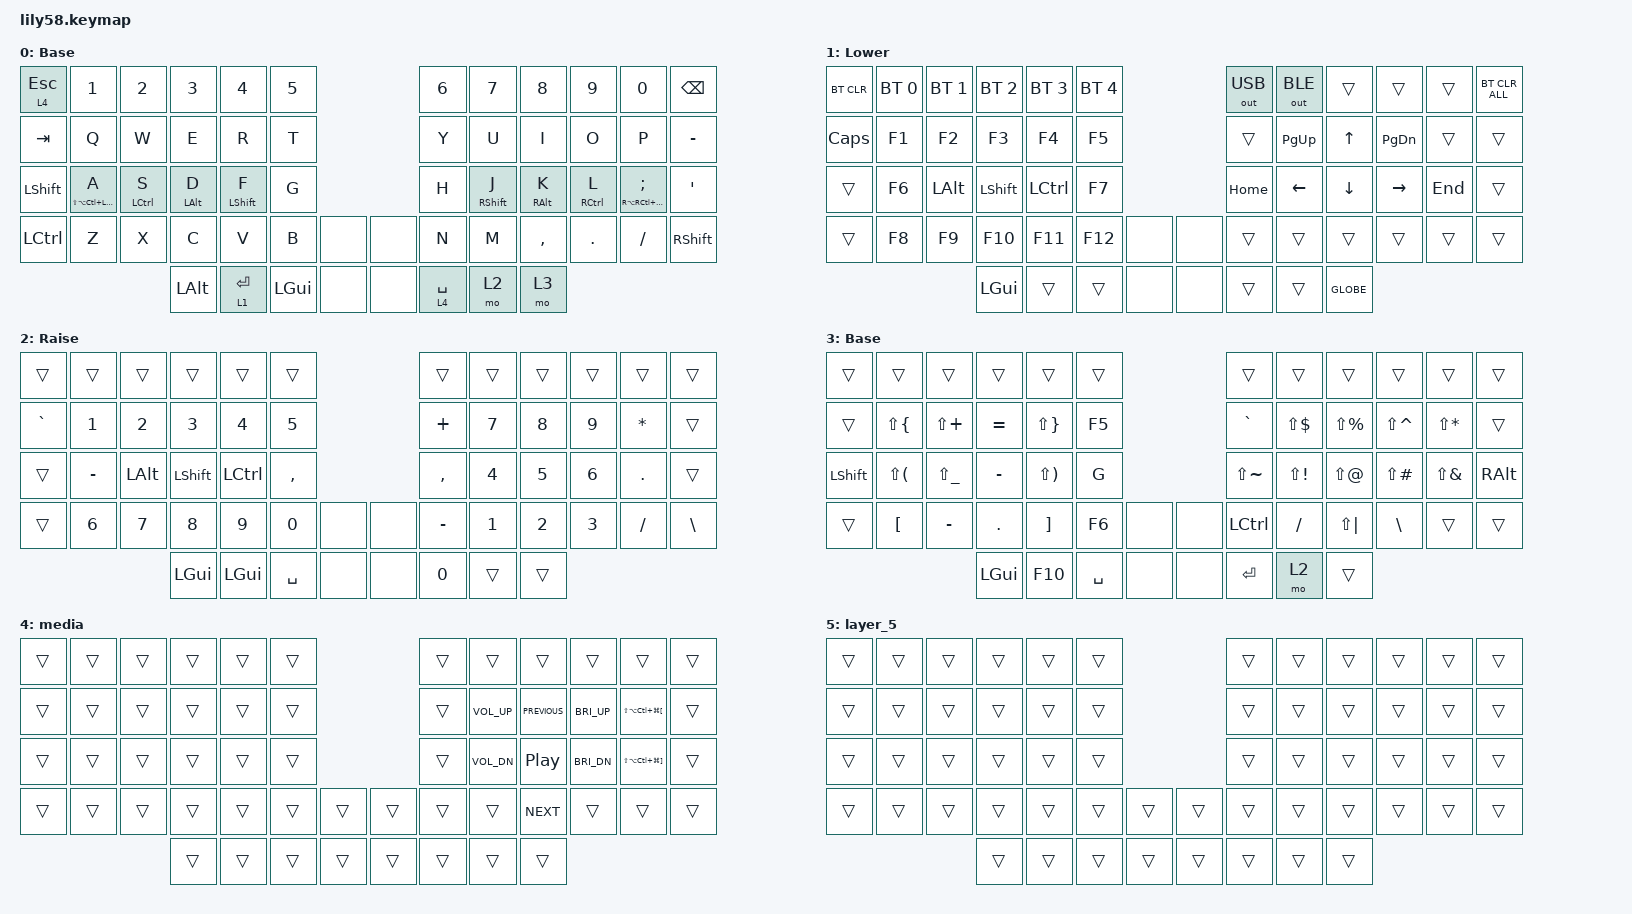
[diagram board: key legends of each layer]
/*
 * Copyright (c) 2020 The ZMK Contributors
 *
 * SPDX-License-Identifier: MIT
 */

#include <behaviors.dtsi>
#include <dt-bindings/zmk/bt.h>
#include <dt-bindings/zmk/keys.h>
#include <dt-bindings/zmk/outputs.h>

/ {
    behaviors {
        longPress: longPress {
            compatible = "zmk,behavior-hold-tap";
            label = "LONGPRESS";
            bindings = <&kp>, <&kp>;

            #binding-cells = <2>;
            tapping-term-ms = <350>;
            flavor = "tap-preferred";
        };

        HMShiftR: HMShiftR {
            compatible = "zmk,behavior-hold-tap";
            label = "HMSHIFTR";
            bindings = <&kp>, <&kp>;

            #binding-cells = <2>;
            tapping-term-ms = <200>;
            hold-trigger-key-positions = <0 1 2 3 4 15 0 1 2 3 4 5 12 13 14 15 16 17 24 25 26 27 28 29 36 37 38 39 40 41 50 51 52 53 42>;
            hold-trigger-on-release;
            hold-while-undecided;
            flavor = "balanced";
            quick-tap-ms = <150>;
            require-prior-idle-ms = <125>;
        };

        HMShiftL: HMShiftL {
            compatible = "zmk,behavior-hold-tap";
            label = "HMSHIFTL";
            bindings = <&kp>, <&kp>;

            #binding-cells = <2>;
            tapping-term-ms = <200>;
            hold-trigger-on-release;
            hold-while-undecided;
            hold-trigger-key-positions = <6 7 8 9 10 11 18 19 20 21 22 23 30 31 32 33 34 35 44 45 46 47 48 49 54 55 56 57 43>;
            quick-tap-ms = <150>;
            require-prior-idle-ms = <125>;
            flavor = "balanced";
        };

        HMSuperL: HMSuperL {
            compatible = "zmk,behavior-hold-tap";
            label = "HMSUPERL";
            bindings = <&kp>, <&kp>;

            #binding-cells = <2>;
            tapping-term-ms = <200>;
            hold-while-undecided;
            hold-trigger-key-positions = <6 7 8 9 10 11 18 19 20 21 22 23 30 31 32 33 34 35 43 44 45 46 47 48 49 54 55 56 57>;
            quick-tap-ms = <150>;
            require-prior-idle-ms = <125>;
            flavor = "balanced";
            hold-trigger-on-release;
        };

        HMSuperR: HMSuperR {
            compatible = "zmk,behavior-hold-tap";
            label = "HMSUPERR";
            bindings = <&kp>, <&kp>;

            #binding-cells = <2>;
            tapping-term-ms = <200>;
            hold-trigger-key-positions = <0 1 2 3 4 15 0 1 2 3 4 5 12 13 14 15 16 17 24 25 26 27 28 29 36 37 38 39 40 41 50 51 52 53 42>;
            hold-while-undecided;
            quick-tap-ms = <175>;
            require-prior-idle-ms = <150>;
            flavor = "balanced";
            hold-trigger-on-release;
        };

        HMAltR: HMAltR {
            compatible = "zmk,behavior-hold-tap";
            label = "HMALTR";
            bindings = <&kp>, <&kp>;

            #binding-cells = <2>;
            tapping-term-ms = <200>;
            hold-trigger-key-positions = <0 1 2 3 4 15 0 1 2 3 4 5 12 13 14 15 16 17 24 25 26 27 28 29 36 37 38 39 40 41 50 51 52 53 42>;
            hold-trigger-on-release;
            hold-while-undecided;
            quick-tap-ms = <150>;
            require-prior-idle-ms = <125>;
            flavor = "balanced";
        };

        HMAltL: HMAltL {
            compatible = "zmk,behavior-hold-tap";
            label = "HMALTL";
            bindings = <&kp>, <&kp>;

            #binding-cells = <2>;
            tapping-term-ms = <200>;
            hold-trigger-on-release;
            hold-while-undecided;
            hold-trigger-key-positions = <6 7 8 9 10 11 18 19 20 21 22 23 30 31 32 33 34 35 44 45 46 47 48 49 55 56 57 30 43 44 54>;
            quick-tap-ms = <150>;
            require-prior-idle-ms = <125>;
            flavor = "balanced";
        };

        HMCtrlR: HMCtrlR {
            compatible = "zmk,behavior-hold-tap";
            label = "HMCTRLR";
            bindings = <&kp>, <&kp>;

            #binding-cells = <2>;
            tapping-term-ms = <200>;
            hold-trigger-key-positions = <0 1 2 3 4 15 0 1 2 3 4 5 12 13 14 15 16 17 24 25 26 27 28 29 36 37 38 39 40 41 50 51 52 53 42>;
            hold-trigger-on-release;
            hold-while-undecided;
            quick-tap-ms = <150>;
            require-prior-idle-ms = <125>;
            flavor = "balanced";
        };

        HMCtrlL: HMCtrlL {
            compatible = "zmk,behavior-hold-tap";
            label = "HMCTRLL";
            bindings = <&kp>, <&kp>;

            #binding-cells = <2>;
            tapping-term-ms = <200>;
            hold-trigger-on-release;
            hold-while-undecided;
            hold-trigger-key-positions = <6 7 9 10 11 18 19 21 22 23 30 31 32 33 34 35 44 45 46 47 48 49 54 55 56 57 43 8 20>;
            quick-tap-ms = <150>;
            require-prior-idle-ms = <125>;
            flavor = "balanced";
        };

        leftspace: leftspace {
            compatible = "zmk,behavior-hold-tap";
            label = "LEFTSPACE";
            bindings = <&mo>, <&kp>;

            #binding-cells = <2>;
            tapping-term-ms = <200>;
            quick-tap-ms = <150>;
            require-prior-idle-ms = <125>;
            flavor = "balanced";
        };

        rightspace: rightspace {
            compatible = "zmk,behavior-hold-tap";
            label = "RIGHTSPACE";
            bindings = <&mo>, <&kp>;

            #binding-cells = <2>;
            tapping-term-ms = <200>;
            quick-tap-ms = <150>;
            require-prior-idle-ms = <125>;
            flavor = "balanced";
            hold-while-undecided;
        };

        escmedialayer: escmedialayer {
            compatible = "zmk,behavior-hold-tap";
            label = "ESCMEDIALAYER";
            bindings = <&mo>, <&kp>;

            #binding-cells = <2>;
            tapping-term-ms = <200>;
            hold-trigger-on-release;
            hold-while-undecided;
            hold-trigger-key-positions = <6 7 8 9 10 11 18 19 20 21 22 23 30 31 32 33 34 35 44 45 46 47 48 49 55 56 57 30 43 44 54>;
            quick-tap-ms = <150>;
            require-prior-idle-ms = <125>;
            flavor = "balanced";
        };
    };

    combos {
        compatible = "zmk,combos";

        closewindow {
            bindings = <&kp LG(W)>;
            key-positions = <13 14>;
        };

        cut {
            bindings = <&kp LG(X)>;
            key-positions = <37 38>;
        };

        copy {
            bindings = <&kp LG(C)>;
            key-positions = <38 39>;
        };

        paste {
            bindings = <&kp LG(V)>;
            key-positions = <40 39>;
        };

        newtab {
            bindings = <&kp LG(T)>;
            key-positions = <16 17>;
        };

        bold {
            bindings = <&kp LG(B)>;
            key-positions = <40 41>;
        };

        bkspace {
            bindings = <&kp BACKSPACE>;
            key-positions = <19 20>;
        };

        undo {
            bindings = <&kp LG(Z)>;
            key-positions = <36 37>;
        };

        enter {
            bindings = <&kp RETURN>;
            key-positions = <32 33>;
        };

        leftnav {
            bindings = <&kp LC(RS(TAB))>;
            key-positions = <0 1>;
        };

        rightnav {
            bindings = <&kp LC(TAB)>;
            key-positions = <10 11>;
        };
    };

    keymap {
        compatible = "zmk,keymap";

        default_layer {
            // ------------------------------------------------------------------------------------------------------------
            // |  ESC  |  1  |  2  |  3   |  4   |  5   |                   |  6   |  7    |  8    |  9   |   0   |   `   |
            // |  TAB  |  Q  |  W  |  E   |  R   |  T   |                   |  Y   |  U    |  I    |  O   |   P   |   -   |
            // |  CTRL |  A  |  S  |  D   |  F   |  G   |                   |  H   |  J    |  K    |  L   |   ;   |   '   |
            // | SHIFT |  Z  |  X  |  C   |  V   |  B   |  n/a   |  |  n/a  |  N   |  M    |  ,    |  .   |   /   | SHIFT |
            //                     | GUI  | LOWER| SPACE|  n/a   |  |  n/a  | ENTER| RAISE | BSPC  |
            // Note: Silakka54 has 54 keys - the 4 positions marked n/a are not present (inner thumb + encoder positions)

            display-name = "Base";
            bindings = <
&escmedialayer 4 ESC  &kp N1                            &kp N2                   &kp N3              &kp N4                  &kp N5                        &kp N6               &kp N7                   &kp N8               &kp N9            &kp N0                                &kp BACKSPACE
&kp TAB               &kp Q                             &kp W                    &kp E               &kp R                   &kp T                         &kp Y                &kp U                    &kp I                &kp O             &kp P                                 &kp MINUS
&kp LEFT_SHIFT        &HMSuperL LS(LA(LC(LEFT_GUI))) A  &HMCtrlL LEFT_CONTROL S  &HMAltL LEFT_ALT D  &HMShiftL LEFT_SHIFT F  &kp G                         &kp H                &HMShiftR RIGHT_SHIFT J  &HMAltR RIGHT_ALT K  &HMCtrlR RCTRL L  &HMSuperR RA(RC(LS(RIGHT_GUI))) SEMI  &kp SQT
&kp LCTRL             &kp Z                             &kp X                    &kp C               &kp V                   &kp B         &none    &none  &kp N                &kp M                    &kp COMMA            &kp DOT           &kp FSLH                              &kp RSHFT
                                                                                 &kp LEFT_ALT        &leftspace 1 RETURN     &kp LEFT_GUI  &none    &none  &rightspace 4 SPACE  &mo 2                    &mo 3
            >;
        };

        lower_layer {
            // ------------------------------------------------------------------------------------------------------------
            // | BTCLR | BT1 | BT2 |  BT3 |  BT4 |  BT5 |                   | USB  | BLE   |       |      |       |BTCLRALL|
            // |  F1   |  F2 |  F3 |  F4  |  F5  |  F6  |                   |  F7  |  F8   |  F9   |  F10 |  F11  |  F12  |
            // |   `   |  !  |  @  |  #   |  $   |  %   |                   |  ^   |  &    |  *    |  (   |   )   |   ~   |
            // |       |     |     |      |      |      |  n/a   |  |  n/a  |      |  _    |  +    |  {   |   }   |  "|"  |
            //                     |      |      |      |  n/a   |  |  n/a  |      |       |       |

            display-name = "Lower";
            bindings = <
&bt BT_CLR    &bt BT_SEL 0  &bt BT_SEL 1  &bt BT_SEL 2    &bt BT_SEL 3      &bt BT_SEL 4                  &out OUT_USB  &out OUT_BLE    &trans          &trans         &trans   &bt BT_CLR_ALL
&kp CAPSLOCK  &kp F1        &kp F2        &kp F3          &kp F4            &kp F5                        &trans        &kp PAGE_UP     &kp UP_ARROW    &kp PAGE_DOWN  &trans   &trans
&trans        &kp F6        &kp LEFT_ALT  &kp LEFT_SHIFT  &kp LEFT_CONTROL  &kp F7                        &kp HOME      &kp LEFT_ARROW  &kp DOWN_ARROW  &kp RIGHT      &kp END  &trans
&trans        &kp F8        &kp F9        &kp F10         &kp F11           &kp F12       &none    &none  &trans        &trans          &trans          &trans         &trans   &trans
                                          &kp LEFT_GUI    &trans            &trans        &none    &none  &trans        &trans          &kp GLOBE
            >;
        };

        raise_layer {
            // ------------------------------------------------------------------------------------------------------------
            // |       |     |     |      |      |      |                   |      |       |       |      |       |       |
            // |   `   |  1  |  2  |  3   |  4   |  5   |                   |  6   |   7   |   8   |  9   |   0   |       |
            // |   F1  |  F2 |  F3 |  F4  |  F5  |  F6  |                   |      |   <-  |   v   |  ^   |  ->   |       |
            // |   F7  |  F8 |  F9 |  F10 |  F11 |  F12 |  n/a   |  |  n/a  |  +   |   -   |   =   |  [   |   ]   |   \   |
            //                     |      |      |      |  n/a   |  |  n/a  |      |       |       |

            display-name = "Raise";
            bindings = <
&trans     &trans        &trans        &trans          &trans        &trans                     &trans     &trans  &trans        &trans  &trans        &trans
&kp GRAVE  &kp N1        &kp N2        &kp N3          &kp N4        &kp N5                     &kp PLUS   &kp N7  &kp N8        &kp N9  &kp ASTERISK  &trans
&trans     &kp MINUS     &kp LEFT_ALT  &kp LEFT_SHIFT  &kp LCTRL     &kp COMMA                  &kp COMMA  &kp N4  &kp NUMBER_5  &kp N6  &kp PERIOD    &trans
&trans     &kp NUMBER_6  &kp N7        &kp N8          &kp N9        &kp N0     &none    &none  &kp MINUS  &kp N1  &kp NUMBER_2  &kp N3  &kp SLASH     &kp BSLH
                                       &kp LEFT_GUI    &kp LEFT_GUI  &kp SPACE  &none    &none  &kp N0     &trans  &trans
            >;
        };

        symbols {
            display-name = "Base";
            bindings = <
&trans          &trans        &trans         &trans     &trans        &trans                     &trans         &trans        &trans         &trans         &trans        &trans
&trans          &kp LS(LBRC)  &kp LS(PLUS)   &kp EQUAL  &kp LS(RBRC)  &kp F5                     &kp GRAVE      &kp LS(DLLR)  &kp LS(PRCNT)  &kp LS(CARET)  &kp LS(STAR)  &trans
&kp LEFT_SHIFT  &kp LS(LPAR)  &kp LS(UNDER)  &kp MINUS  &kp LS(RPAR)  &kp G                      &kp LS(TILDE)  &kp LS(EXCL)  &kp LS(AT)     &kp LS(POUND)  &kp LS(AMPS)  &kp RIGHT_ALT
&trans          &kp LBKT      &kp MINUS      &kp DOT    &kp RBKT      &kp F6     &none    &none  &kp LCTRL      &kp FSLH      &kp LS(PIPE)   &kp BSLH       &trans        &trans
                                             &kp LGUI   &kp F10       &kp SPACE  &none    &none  &kp RET        &mo 2         &trans
            >;
        };

        media {
            bindings = <
&trans  &trans  &trans  &trans  &trans  &trans                    &trans  &trans        &trans            &trans        &trans                             &trans
&trans  &trans  &trans  &trans  &trans  &trans                    &trans  &kp C_VOL_UP  &kp C_PREVIOUS    &kp C_BRI_UP  &kp LS(LA(LC(LG(LEFT_BRACKET))))   &trans
&trans  &trans  &trans  &trans  &trans  &trans                    &trans  &kp C_VOL_DN  &kp C_PLAY_PAUSE  &kp C_BRI_DN  &kp LS(LA(LC(LG(RIGHT_BRACKET))))  &trans
&trans  &trans  &trans  &trans  &trans  &trans  &trans    &trans  &trans  &trans        &kp C_NEXT        &trans        &trans                             &trans
                        &trans  &trans  &trans  &trans    &trans  &trans  &trans        &trans
            >;
        };

        layer_5 {
            bindings = <
&trans  &trans  &trans  &trans  &trans  &trans                    &trans  &trans  &trans  &trans  &trans  &trans
&trans  &trans  &trans  &trans  &trans  &trans                    &trans  &trans  &trans  &trans  &trans  &trans
&trans  &trans  &trans  &trans  &trans  &trans                    &trans  &trans  &trans  &trans  &trans  &trans
&trans  &trans  &trans  &trans  &trans  &trans  &trans    &trans  &trans  &trans  &trans  &trans  &trans  &trans
                        &trans  &trans  &trans  &trans    &trans  &trans  &trans  &trans
            >;
        };
    };
};
